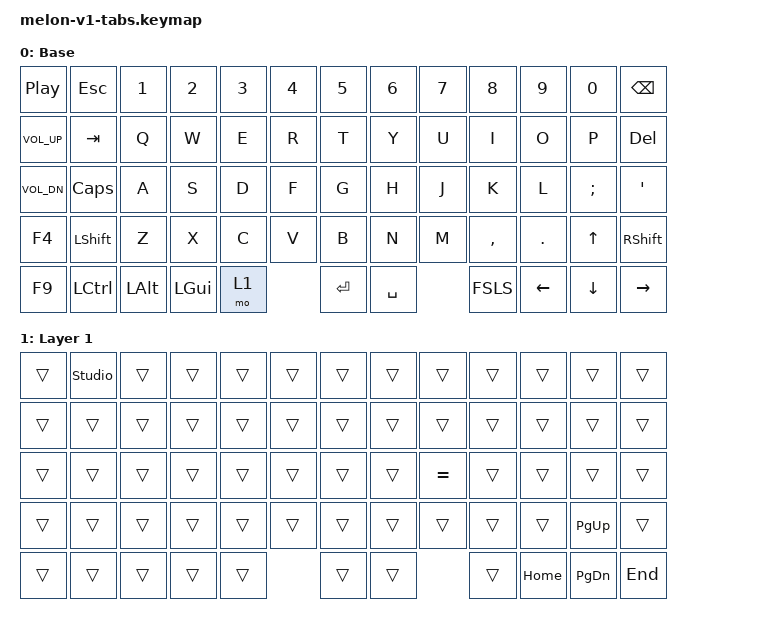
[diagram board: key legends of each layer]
#include <behaviors.dtsi>
#include <dt-bindings/zmk/keys.h>

/ {
    keymap {
        compatible = "zmk,keymap";

        default_layer { // Layer 0
            display-name = "Base";
            bindings = <
            &kp C_PP		&kp ESC		&kp N1		&kp N2		&kp N3		&kp N4		&kp N5		&kp N6		&kp N7		&kp N8		&kp N9		&kp N0		&kp BSPC
            &kp C_VOL_UP	&kp TAB		&kp Q		&kp W		&kp E		&kp R		&kp T		&kp Y		&kp U		&kp I		&kp O		&kp P		&kp DEL
            &kp C_VOL_DN	&kp CAPS	&kp A		&kp S		&kp D		&kp F		&kp G		&kp H		&kp J		&kp K		&kp L		&kp SEMI	&kp SQT
            &kp F4			&kp LSHFT	&kp Z		&kp X		&kp C		&kp V		&kp B		&kp N		&kp M		&kp COMMA	&kp DOT		&kp UP		&kp RSHIFT
            &kp F9			&kp LCTRL	&kp LALT	&kp LGUI	&mo 1					&kp RET		&kp SPACE				&kp FSLS	&kp LEFT	&kp DOWN	&kp RIGHT
            >;
        };
        
        layer_1 {
            display-name = "Layer 1";
            bindings = <
            &trans		&studio_unlock	&trans		&trans		&trans		&trans		&trans		&trans		&trans		&trans		&trans		&trans		&trans
            &trans		&trans			&trans		&trans		&trans		&trans		&trans		&trans		&trans		&trans		&trans		&trans		&trans
            &trans		&trans			&trans		&trans		&trans		&trans		&trans		&trans		&kp EQUAL	&trans		&trans		&trans		&trans
            &trans		&trans			&trans		&trans		&trans		&trans		&trans		&trans		&trans		&trans		&trans		&kp PG_UP	&trans
            &trans		&trans			&trans		&trans		&trans					&trans		&trans					&trans		&kp HOME	&kp PG_DN	&kp END
            >;
        };

        extra1 {
            status = "reserved";
        };

        extra2 {
            status = "reserved";
        };
    };
};
